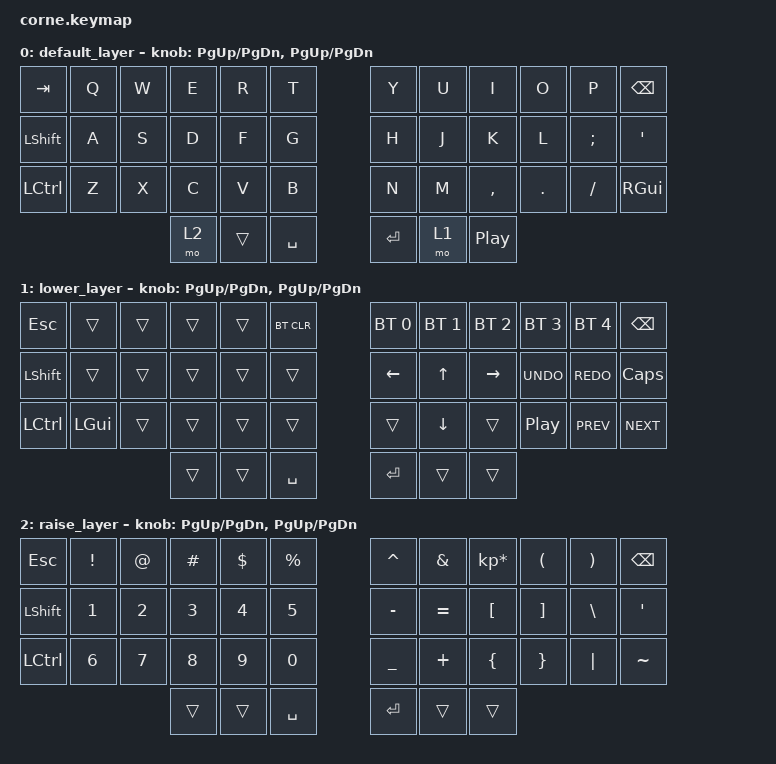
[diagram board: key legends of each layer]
/*
 * Copyright (c) 2020 The ZMK Contributors
 *
 * SPDX-License-Identifier: MIT
 */
#include <behaviors.dtsi>
#include <dt-bindings/zmk/keys.h>
#include <dt-bindings/zmk/bt.h>
/ {
        keymap {
                compatible = "zmk,keymap";

                default_layer { // Layer 0
// -----------------------------------------------------------------------------------------
// | TAB  |  Q  |  W  |  E  |  R  |  T  |   |  Y  |  U   |  I  |  O  |  P  | BKSP |
// | SHFT |  A  |  S  |  D  |  F  |  G  |   |  H  |  J   |  K  |  L  |  ;  |  '   |
// | CTRL |  Z  |  X  |  C  |  V  |  B  |   |  N  |  M   |  ,  |  .  |  /  | RGUI |
//                    | RSE |     | SPC |   | ENT | LWR  |     |
                        bindings = <
   &kp TAB   &kp Q &kp W  &kp E  &kp R  &kp T      &kp Y   &kp U  &kp I     &kp O   &kp P    &kp BSPC
   &kp LSHFT &kp A &kp S  &kp D  &kp F  &kp G      &kp H   &kp J  &kp K     &kp L   &kp SEMI &kp SQT
   &kp LCTRL &kp Z &kp X  &kp C  &kp V  &kp B      &kp N   &kp M  &kp COMMA &kp DOT &kp FSLH &kp RGUI
                          &mo 2  &trans &kp SPACE  &kp RET &mo 1  &kp C_PP
                        >;
                        sensor-bindings = <&inc_dec_kp PG_UP PG_DN &inc_dec_kp PG_UP PG_DN>;
                };
                lower_layer { // Layer 1
// -----------------------------------------------------------------------------------------
// |  ESC |     |     |     |     |BTCLR|   | BT1 | BT2 | BT3 | BT4 | BT5 | BKSP |
// | SHFT |     |     |     |     |     |   | LFT | UP  | RGT | UNDO| REDO| CAPS |
// | CTRL | GUI |     |     |     |     |   |     | DWN |     | PLAY| PREV| NEXT |
//                    | RSE |     | SPC |   | ENT | LWR |     |
                        bindings = <
   &kp ESC   &trans   &trans  &trans   &trans   &bt BT_CLR    &bt BT_SEL 0 &bt BT_SEL 1 &bt BT_SEL 2 &bt BT_SEL 3 &bt BT_SEL 4 &kp BSPC
   &kp LSHFT &trans   &trans  &trans   &trans   &trans        &kp LEFT     &kp UP       &kp RIGHT    &kp K_UNDO   &kp K_REDO   &kp CAPS
   &kp LCTRL &kp LGUI &trans  &trans   &trans   &trans        &trans       &kp DOWN     &trans       &kp C_PP     &kp K_PREV   &kp K_NEXT
                              &trans   &trans   &kp SPACE     &kp RET       &trans       &trans
                        >;
                        sensor-bindings = <&inc_dec_kp PG_UP PG_DN &inc_dec_kp PG_UP PG_DN>;
                };
                raise_layer { // Layer 2
// -----------------------------------------------------------------------------------------
// |  ESC |  !  |  @  |  #  |  $  |  %  |   |  ^  |  &  |  *  |  (  |  )  | BKSP |
// | SHFT |  1  |  2  |  3  |  4  |  5  |   |  -  |  =  |  [  |  ]  |  \  |  `   |
// | CTRL |  6  |  7  |  8  |  9  |  0  |   |  _  |  +  |  {  |  }  | "|" |  ~   |
//                    | RSE |     | SPC |   | ENT | LWR |     |
                        bindings = <
   &kp  ESC  &kp EXCL &kp AT &kp HASH   &kp DLLR   &kp PRCNT   &kp CARET &kp AMPS   &kp KP_MULTIPLY &kp LPAR &kp RPAR &kp BSPC
   &kp LSHFT &kp N1   &kp N2 &kp N3     &kp N4     &kp N5      &kp MINUS &kp EQUAL  &kp LBKT        &kp RBKT &kp BSLH &kp APOS
   &kp LCTRL &kp N6   &kp N7 &kp N8     &kp N9     &kp N0      &kp UNDER &kp PLUS   &kp LBRC        &kp RBRC &kp PIPE &kp TILDE
                             &trans  &trans  &kp SPACE   &kp RET   &trans  &trans
                        >;
                        sensor-bindings = <&inc_dec_kp PG_UP PG_DN &inc_dec_kp PG_UP PG_DN>;
                };
        };
};
